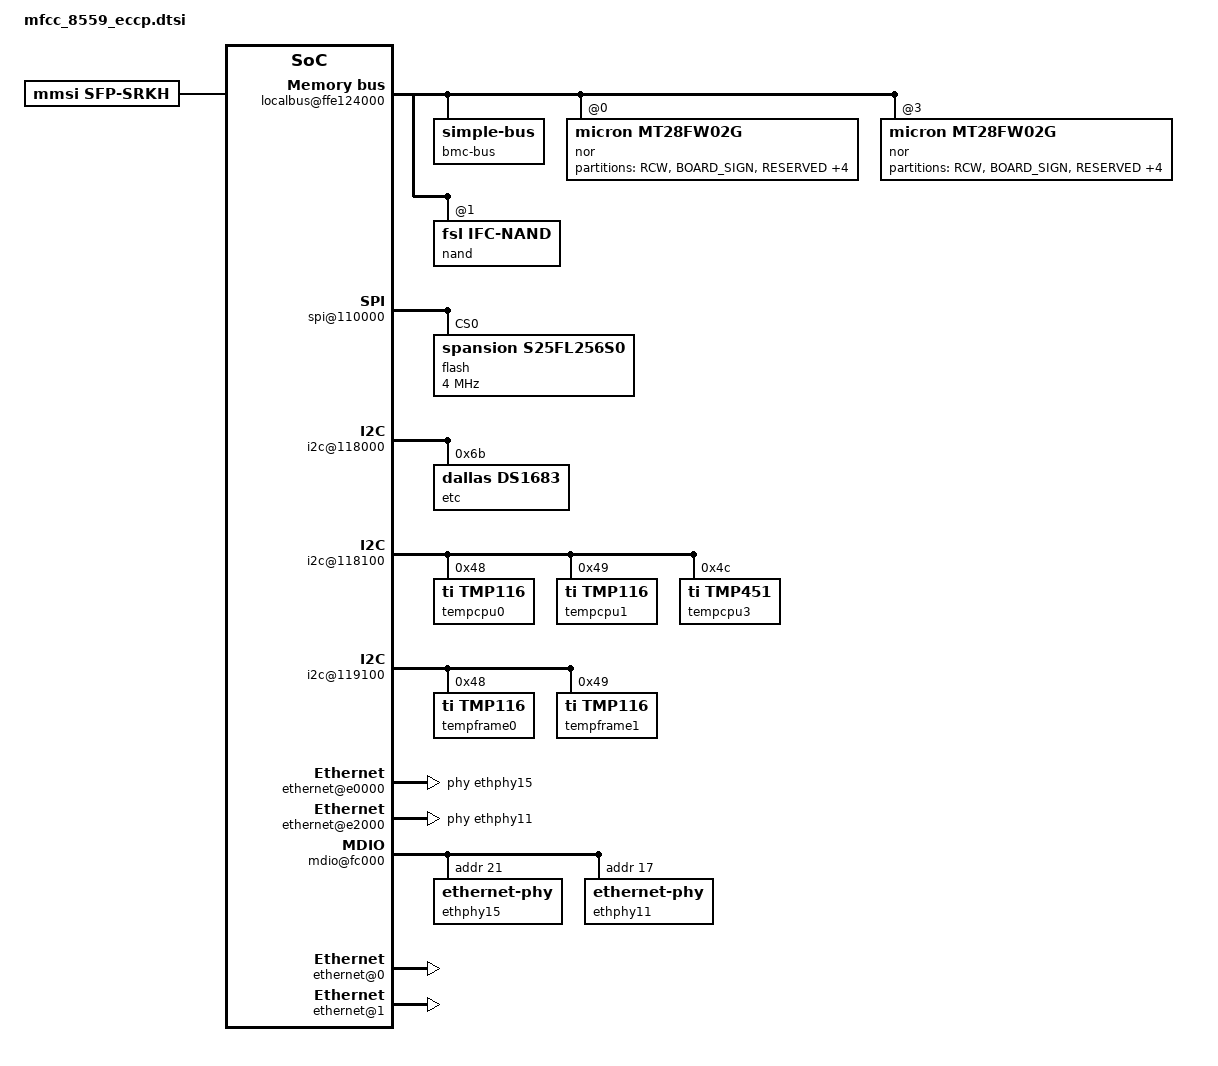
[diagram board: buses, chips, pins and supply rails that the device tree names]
/dts-v1/;

/include/ "mfcc_855x.dtsi"

/ {
	cpus {
		PowerPC,e6500@0 {
			clock-frequency = <1800000000>;
			timebase-frequency = <37500000>;
			bus-frequency = <600000000>;
		};
		PowerPC,e6500@1 {
			clock-frequency = <1800000000>;
			timebase-frequency = <37500000>;
			bus-frequency = <600000000>;
			enable-method = "spin-table";
			cpu-release-addr = <0 0xfffffc40>;
		};
		PowerPC,e6500@2 {
			clock-frequency = <1800000000>;
			timebase-frequency = <37500000>;
			bus-frequency = <600000000>;
			enable-method = "spin-table";
			cpu-release-addr = <0 0xfffffc80>;
		};
		PowerPC,e6500@3 {
			clock-frequency = <1800000000>;
			timebase-frequency = <37500000>;
			bus-frequency = <600000000>;
			enable-method = "spin-table";
			cpu-release-addr = <0 0xfffffcc0>;
		};
	};

	localbus@ffe124000 {
		/*     CS#  child        size */
		ranges = <
			/* NOR 256 MB */
			0 0 2 0xf0000000 0x10000000
			/* nand 4 GB */
			1 0 2 0x60000000 0x10000
			/* NOR 256 MB */
			3 0 2 0xb0000000 0x10000000
			/* BMC FPGA */
			4 0 2 0x70000000 0x1000000>;

		/* IFC chip select configuration
		 *     CS# CSPR       CSOR       CSOR_EXT   AMASK
		 *         FTIM0      FTIM1      FTIM2      FTIM3
		 */
		config = <
			/* second NOR */
			3  0x0101     0x0000000c 0x00000000 0xf0000000
			   0x20020002 0x1A000A0A 0x02083810 0x00000000

			/* NAND */
			1  0x0083     0x9518c200 0x000001c0 0xffff0000
			   0x0e10070a 0x1c3d0d10 0x01a05025 0x1f000000
		>;

		bmc-bus@4,0 {
			compatible = "simple-bus";
			#address-cells = <1>;
			#size-cells = <1>;

			ranges = <0 4 0x0 0x90000>;

			bmc@0 {
				compatible = "mmsi,ifc-bmc";
				reg = <0x0000 0x2100 /* ctrl reg */
				       0x7000 0x100  /* timer reg */
				       0x9000 0x8>;  /* irq */
			};

			/* watchdog with fixed timeout started by hw */
			hw_wdog@4000 {
				compatible = "mmsi,ifc-wdog";
				reg = <0x4000 0x18>;
				hw-wdog = <1>;
			};

			prog_wdog@5000 {
				compatible = "mmsi,ifc-wdog";
				reg = <0x5000 0x18>;
				timeout-secs = <60>;
			};

			gpio@8000 {
				compatible = "mmsi,ifc-gpio";
				reg = <0x8000 0x1c>;
			};
		};

		/* 256 MB NOR flash, booting flash */
		nor@0,0 {
			compatible = "micron,mt28fw02g", "cfi-flash";
			bank-width = <2>;
			reg = <0 0 0x10000000>;
			#address-cells = <1>;
			#size-cells = <1>;

			partition@0 {
				reg = <0 0x100000>;
				label = "RCW";
			};
			partition@100000 {
				reg = <0x100000 0x80000>;
				label = "BOARD_SIGN";
			};
			partition@180000 {
				reg = <0x180000 0x200000>;
				label = "RESERVED";
			};
			partition@380000 {
				reg = <0x380000 0x40000>;
				label = "IMGT";
			};
			partition@3c0000 {
				reg = <0x3c0000 0x40000>;
				label = "VPKT";
			};
			partition@400000 {
				reg = <0x400000 0xfb00000>;
				label = "USER";
			};
			partition@ff00000 {
				reg = <0xff00000 0x100000>;
				label = "BL";
			};
		};

		/* 256 MB second NOR flash */
		nor@3,0 {
			compatible = "micron,mt28fw02g", "cfi-flash";
			bank-width = <2>;
			reg = <3 0 0x10000000>;
			#address-cells = <1>;
			#size-cells = <1>;

			partition@0 {
				reg = <0 0x100000>;
				label = "RCW";
			};
			partition@100000 {
				reg = <0x100000 0x80000>;
				label = "BOARD_SIGN";
			};
			partition@180000 {
				reg = <0x180000 0x200000>;
				label = "RESERVED";
			};
			partition@380000 {
				reg = <0x380000 0x40000>;
				label = "IMGT";
			};
			partition@3c0000 {
				reg = <0x3c0000 0x40000>;
				label = "VPKT";
			};
			partition@400000 {
				reg = <0x400000 0xfb00000>;
				label = "USER";
			};
			partition@ff00000 {
				reg = <0xff00000 0x100000>;
				label = "BL";
			};
		};

		nand@1,0 {
			 #address-cells = <1>;
                         #size-cells = <1>;
                         compatible = "fsl,ifc-nand";
                         reg = <0x1 0x0 0x10000>;
		};
	};

	soc@ffe000000 {
		bus-frequency = <500000000>;

		sfp-srkh {
			compatible = "mmsi,sfp-srkh";
		};

		spi@110000 {
			flash@0 {
				reg = <0>;
                                compatible = "spansion,s25fl256s0", "jedec,spi-nor";
                                spi-max-frequency = <4000000>;
                                #address-cells = <1>;
                                #size-cells = <1>;
			};
		};

		i2c@118000 { /* i2c0 */
			etc@6b {
				compatible = "dallas,ds1683";
				reg = <0x6b>;
			};
		};

		i2c@118100 { /* i2c1 */
			tempcpu0@48 {
				compatible = "ti,tmp116";
				reg = <0x48>;
			};
			tempcpu1@49 {
				compatible = "ti,tmp116";
				reg = <0x49>;
			};
			tempcpu3@4c {
				compatible = "ti,tmp451";
				reg = <0x4c>;
			};
		};

		i2c@119000 { /* i2c2 */
		};

		i2c@119100 { /* i2c3 */
			tempframe0@48 {
				compatible = "ti,tmp116";
				reg = <0x48>;
			};
			tempframe1@49 {
				compatible = "ti,tmp116";
				reg = <0x49>;
			};
		};

		sdhc@114000 {
			clock-frequency = <300000000>;
			status = "disabled";
		};
		fman@400000 {
			clock-frequency = <600000000>;

			ethernet@e0000 {
				phy-handle = <&ethphy15>;
				status = "okay";
			};
			ethernet@e2000 {
				phy-handle = <&ethphy11>;
				status = "okay";
			};

			mdio@fc000 {
				clk-div = <0x78>; /* set MDIO_CLK_DIV */
				status = "okay";

				ethphy15: ethernet-phy@15 {
					reg = <0x15>;
				};
				ethphy11: ethernet-phy@11 {
					reg = <0x11>;
				};
			};
		};

		qman@318000 {
			clock-frequency = <300000000>;
			fsl,qman-fqd = <0 0x7e000000 0 0x1000000>;
			fsl,qman-pfdr = <0 0x7d000000 0 0x1000000>;
		};
		bman@31a000 {
			clock-frequency = <300000000>;
			fsl,bman-fbpr = <0 0x7c000000 0 0x1000000>;
		};
	};

	fsl,dpaa {
		ethernet@0 {
			status = "okay";
		};
		ethernet@1 {
			status = "okay";
		};
	};
};
